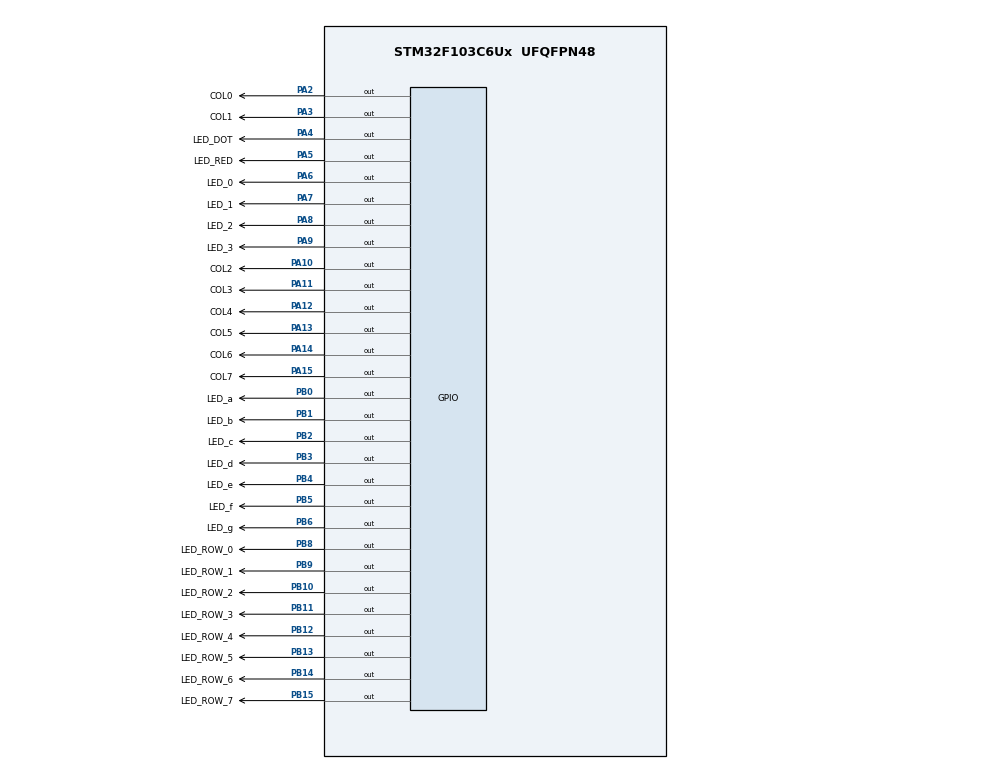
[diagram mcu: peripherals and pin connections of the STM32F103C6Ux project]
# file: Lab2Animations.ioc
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Mcu.Family=STM32F1
Mcu.Name=STM32F103C6Ux
Mcu.Package=UFQFPN48
NVIC.PriorityGroup=NVIC_PRIORITYGROUP_4
NVIC.TIM2_IRQn=true\:0\:0\:false\:false\:true\:true\:true
PA10.GPIO_Label=COL2
PA10.Signal=GPIO_Output
PA11.GPIO_Label=COL3
PA11.Signal=GPIO_Output
PA12.GPIO_Label=COL4
PA12.Signal=GPIO_Output
PA13.GPIO_Label=COL5
PA13.Signal=GPIO_Output
PA14.GPIO_Label=COL6
PA14.Signal=GPIO_Output
PA15.GPIO_Label=COL7
PA15.Signal=GPIO_Output
PA2.GPIO_Label=COL0
PA2.Signal=GPIO_Output
PA3.GPIO_Label=COL1
PA3.Signal=GPIO_Output
PA4.GPIO_Label=LED_DOT
PA4.Signal=GPIO_Output
PA5.GPIO_Label=LED_RED
PA5.Signal=GPIO_Output
PA6.GPIO_Label=LED_0
PA6.Signal=GPIO_Output
PA7.GPIO_Label=LED_1
PA7.Signal=GPIO_Output
PA8.GPIO_Label=LED_2
PA8.Signal=GPIO_Output
PA9.GPIO_Label=LED_3
PA9.Signal=GPIO_Output
PB0.GPIO_Label=LED_a
PB0.Signal=GPIO_Output
PB1.GPIO_Label=LED_b
PB1.Signal=GPIO_Output
PB10.GPIO_Label=LED_ROW_2
PB10.Signal=GPIO_Output
PB11.GPIO_Label=LED_ROW_3
PB11.Signal=GPIO_Output
PB12.GPIO_Label=LED_ROW_4
PB12.Signal=GPIO_Output
PB13.GPIO_Label=LED_ROW_5
PB13.Signal=GPIO_Output
PB14.GPIO_Label=LED_ROW_6
PB14.Signal=GPIO_Output
PB15.GPIO_Label=LED_ROW_7
PB15.Signal=GPIO_Output
PB2.GPIO_Label=LED_c
PB2.Signal=GPIO_Output
PB3.GPIO_Label=LED_d
PB3.Signal=GPIO_Output
PB4.GPIO_Label=LED_e
PB4.Signal=GPIO_Output
PB5.GPIO_Label=LED_f
PB5.Signal=GPIO_Output
PB6.GPIO_Label=LED_g
PB6.Signal=GPIO_Output
PB8.GPIO_Label=LED_ROW_0
PB8.Signal=GPIO_Output
PB9.GPIO_Label=LED_ROW_1
PB9.Signal=GPIO_Output
ProjectManager.HeapSize=0x200
ProjectManager.StackSize=0x400
ProjectManager.TargetToolchain=STM32CubeIDE
RCC.APB1Freq_Value=8000000
RCC.APB2Freq_Value=8000000
TIM2.Period=1
TIM2.Prescaler=7999
VP_SYS_VS_ND.Mode=No_Debug
VP_TIM2_VS_ClockSourceINT.Mode=Internal
board=custom

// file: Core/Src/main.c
/* USER CODE BEGIN Header */
/**
  ******************************************************************************
  * @file           : main.c
  * @brief          : Main program body
  ******************************************************************************
  * @attention
  *
  * <h2><center>&copy; Copyright (c) 2025 STMicroelectronics.
  * All rights reserved.</center></h2>
  *
  * This software component is licensed by ST under BSD 3-Clause license,
  * the "License"; You may not use this file except in compliance with the
  * License. You may obtain a copy of the License at:
  *                        opensource.org/licenses/BSD-3-Clause
  *
  ******************************************************************************
  */
/* USER CODE END Header */
#include "main.h"

/* USER CODE BEGIN Includes */
#include "software_timer.h"

/* USER CODE END Includes */

/* USER CODE BEGIN PD */
#define digitNums 10
#define maxLedCl 4
#define maxLedMatrix 8
/* USER CODE END PD */

TIM_HandleTypeDef htim2;

/* USER CODE BEGIN PV */
//LED CLOCK
const uint8_t ledMaps[digitNums] = {
		0b1000000, // 0
		0b1111001, // 1
		0b0100100, // 2
		0b0110000, // 3
		0b0011001, // 4
		0b0010010, // 5
		0b0000010, // 6
		0b1111000, // 7
		0b0000000, // 8
		0b0010000  // 9
};

const uint16_t ledUsed[7] ={
		LED_a_Pin, LED_b_Pin, LED_c_Pin,
		LED_d_Pin, LED_e_Pin, LED_f_Pin, LED_g_Pin
};

volatile uint8_t ledClockBuffers[maxLedCl] = {0};
volatile int curLed = 0;
volatile int hr = 12, min = 34, sec = 50;

//LED MATRIX
const uint16_t LED_COL_Pins[8] = {
    COL0_Pin, COL1_Pin, COL2_Pin, COL3_Pin,
    COL4_Pin, COL5_Pin, COL6_Pin, COL7_Pin
};

const uint16_t LED_ROW_Pins[8] = {
    LED_ROW_0_Pin, LED_ROW_1_Pin, LED_ROW_2_Pin, LED_ROW_3_Pin,
    LED_ROW_4_Pin, LED_ROW_5_Pin, LED_ROW_6_Pin, LED_ROW_7_Pin
};

volatile uint8_t ledMatrixBuffers[8] = {0};
const uint8_t fontsMatrix[36][8] = {
		{0x18,0x3C,0x66,0xC3,0xFF,0xFF,0xC3,0xC3}, //A
		{0xFC,0xC6,0xC6,0xFC,0xC6,0xC6,0xC6,0xFC}, //B
		{0x3E,0x63,0xC0,0xC0,0xC0,0xC0,0x63,0x3E}, //C
		{0xFC,0xC6,0xC3,0xC3,0xC3,0xC3,0xC6,0xFC}, //D
		{0xFF,0xC0,0xC0,0xFE,0xC0,0xC0,0xC0,0xFF}, //E
		{0xFF,0xC0,0xC0,0xFE,0xC0,0xC0,0xC0,0xC0}, //F
		{0x3E,0x63,0xC0,0xCF,0xC3,0xC3,0x63,0x3F}, //G
		{0xC3,0xC3,0xC3,0xFF,0xC3,0xC3,0xC3,0xC3}, //H
		{0x3C,0x18,0x18,0x18,0x18,0x18,0x18,0x3C}, //I
		{0x1E,0x0C,0x0C,0x0C,0x0C,0xCC,0xCC,0x78}, //J
		{0xC6,0xCC,0xD8,0xF0,0xF0,0xD8,0xCC,0xC6}, //K
		{0xC0,0xC0,0xC0,0xC0,0xC0,0xC0,0xC0,0xFF}, //L
		{0xC3,0xE7,0xFF,0xFF,0xDB,0xC3,0xC3,0xC3}, //M
		{0xC3,0xE3,0xF3,0xDB,0xCF,0xC7,0xC3,0xC3}, //N
		{0x3C,0x66,0xC3,0xC3,0xC3,0xC3,0x66,0x3C}, //O
		{0xFC,0xC6,0xC6,0xFC,0xC0,0xC0,0xC0,0xC0}, //P
		{0x3C,0x66,0xC3,0xC3,0xC3,0xDB,0x66,0x3D}, //Q
		{0xFC,0xC6,0xC6,0xFC,0xF0,0xD8,0xCC,0xC6}, //R
		{0x3C,0x66,0x60,0x3C,0x06,0x06,0x66,0x3C}, //S
		{0xFF,0x18,0x18,0x18,0x18,0x18,0x18,0x18}, //T
		{0xC3,0xC3,0xC3,0xC3,0xC3,0xC3,0x66,0x3C}, //U
		{0xC3,0xC3,0xC3,0xC3,0x66,0x66,0x3C,0x18}, //V
		{0xC3,0xC3,0xDB,0xFF,0xFF,0xE7,0xC3,0xC3}, //W
		{0xC3,0x66,0x3C,0x18,0x18,0x3C,0x66,0xC3}, //X
		{0xC3,0x66,0x3C,0x18,0x18,0x18,0x18,0x18}, //Y
		{0xFF,0x06,0x0C,0x18,0x30,0x60,0xC0,0xFF}, //Z
		// ===== 0–9 =====
		{0x3C,0x66,0xC3,0xC3,0xC3,0xC3,0x66,0x3C}, //0
		{0x18,0x38,0x18,0x18,0x18,0x18,0x18,0x7E}, //1
		{0x3C,0x66,0x06,0x0C,0x18,0x30,0x60,0x7E}, //2
		{0x3C,0x66,0x06,0x1C,0x06,0x06,0x66,0x3C}, //3
		{0x0C,0x1C,0x3C,0x6C,0xCC,0xFE,0x0C,0x0C}, //4
		{0x7E,0x60,0x60,0x7C,0x06,0x06,0x66,0x3C}, //5
		{0x1C,0x30,0x60,0x7C,0x66,0x66,0x66,0x3C}, //6
		{0x7E,0x06,0x0C,0x18,0x30,0x30,0x30,0x30}, //7
		{0x3C,0x66,0x66,0x3C,0x66,0x66,0x66,0x3C}, //8
		{0x3C,0x66,0x66,0x3E,0x06,0x0C,0x18,0x38}, //9
};

const char charArr[] = "ABCDEFGHIJKLMNOPQRSTUVWXYZ0123456789";
volatile int  charIdx= 0;
volatile int curLedMatrix = 0;

/* USER CODE END PV */

void SystemClock_Config(void);
static void MX_TIM2_Init(void);
static void MX_GPIO_Init(void);

/* USER CODE BEGIN 0 */

/* LED CLOCK */
/* API for LED CLOCK */
void display7SEG(uint8_t digit) {
	HAL_GPIO_WritePin(GPIOB, ledUsed[0], (ledMaps[digit] & 0x01) ? GPIO_PIN_SET : GPIO_PIN_RESET);
	HAL_GPIO_WritePin(GPIOB, ledUsed[1], (ledMaps[digit] & 0x02) ? GPIO_PIN_SET : GPIO_PIN_RESET);
	HAL_GPIO_WritePin(GPIOB, ledUsed[2], (ledMaps[digit] & 0x04) ? GPIO_PIN_SET : GPIO_PIN_RESET);
	HAL_GPIO_WritePin(GPIOB, ledUsed[3], (ledMaps[digit] & 0x08) ? GPIO_PIN_SET : GPIO_PIN_RESET);
	HAL_GPIO_WritePin(GPIOB, ledUsed[4], (ledMaps[digit] & 0x10) ? GPIO_PIN_SET : GPIO_PIN_RESET);
	HAL_GPIO_WritePin(GPIOB, ledUsed[5], (ledMaps[digit] & 0x20) ? GPIO_PIN_SET : GPIO_PIN_RESET);
	HAL_GPIO_WritePin(GPIOB, ledUsed[6], (ledMaps[digit] & 0x40) ? GPIO_PIN_SET : GPIO_PIN_RESET);
}

void clearAllDigits(void) {
	HAL_GPIO_WritePin(GPIOA, LED_0_Pin, GPIO_PIN_SET);
	HAL_GPIO_WritePin(GPIOA, LED_1_Pin, GPIO_PIN_SET);
	HAL_GPIO_WritePin(GPIOA, LED_2_Pin, GPIO_PIN_SET);
	HAL_GPIO_WritePin(GPIOA, LED_3_Pin, GPIO_PIN_SET);
}

void update7SEG(int index) {
	clearAllDigits();

	switch(index) {
		case 0:
			display7SEG(ledClockBuffers[0]);
	        HAL_GPIO_WritePin(GPIOA, LED_0_Pin, GPIO_PIN_RESET);
	        break;
		case 1:
			display7SEG(ledClockBuffers[1]);
			HAL_GPIO_WritePin(GPIOA, LED_1_Pin, GPIO_PIN_RESET);
			break;
		case 2:
			display7SEG(ledClockBuffers[2]);
			HAL_GPIO_WritePin(GPIOA, LED_2_Pin, GPIO_PIN_RESET);
			break;
		case 3:
			display7SEG(ledClockBuffers[3]);
			HAL_GPIO_WritePin(GPIOA, LED_3_Pin, GPIO_PIN_RESET);
			break;
		default:
			break;
	}
}

void updateClockBuffer(int hr, int min) {
	ledClockBuffers[0] =hr / 10;
	ledClockBuffers[1] =hr % 10;
	ledClockBuffers[2] =min / 10;
	ledClockBuffers[3] = min % 10;
}

/* LED 88 MATRIX */
/* TEST LED 8x8 MATRIX */
void test(void) {
	for (int row = 0; row < maxLedMatrix; ++row) {
		for (int col = 0; col < maxLedMatrix; ++col) {
			HAL_GPIO_WritePin(GPIOA, LED_COL_Pins[col], GPIO_PIN_RESET);
		}
		HAL_GPIO_WritePin(GPIOB, LED_ROW_Pins[row], GPIO_PIN_RESET);
	}
}

/* API for LED 8x8 MATRIX */

void clearAllLEDsMatrix(void) {
	for (int row = 0; row < maxLedMatrix; row++) {
		HAL_GPIO_WritePin(GPIOB, LED_ROW_Pins[row], GPIO_PIN_SET);
	}
	for (int col = 0; col < maxLedMatrix; col++) {
	    HAL_GPIO_WritePin(GPIOA, LED_COL_Pins[col], GPIO_PIN_SET);
	}
}

void displayLEDRowCol(int row) {
	uint8_t data = ledMatrixBuffers[row];
	for (int col = 0; col < maxLedMatrix; col++) {
		if (data & 0x80) {
			HAL_GPIO_WritePin(GPIOA, LED_COL_Pins[col], GPIO_PIN_RESET);
		}
		else {
			HAL_GPIO_WritePin(GPIOA, LED_COL_Pins[col], GPIO_PIN_SET);
		}
		data <<= 1; //Shift left 1 bits
	}
	HAL_GPIO_WritePin(GPIOB, LED_ROW_Pins[row], GPIO_PIN_RESET);
}

void updateLEDMatrix(int index) {
	clearAllLEDsMatrix();
	displayLEDRowCol(index);
}

void loadCharToBuffer(char c) {
    int idx = -1;
    if (c >= 'A' && c <= 'Z') idx = c - 'A';
    else if (c >= '0' && c <= '9') {
    	idx = 26 + (c - '0');
    }

    if (idx >= 0 && idx < 36) {
        for (int i = 0; i < maxLedMatrix; ++i) {
            ledMatrixBuffers[i] = fontsMatrix[idx][i];
        }
    }
    else {
        for (int i = 0; i < maxLedMatrix; ++i) {
        	ledMatrixBuffers[i] = 0x00;
        }
    }
}

/* USER CODE END 0 */

int main(void)
{

  /* MCU Configuration--------------------------------------------------------*/

  /* Reset of all peripherals, Initializes the Flash interface and the Systick. */
  HAL_Init();

  /* Configure the system clock */
  SystemClock_Config();

  /* Initialize all configured peripherals */
  MX_TIM2_Init();
  MX_GPIO_Init();
  /* USER CODE BEGIN 2 */
  HAL_TIM_Base_Start_IT(&htim2);

  /* USER CODE END 2 */

  /* Infinite loop */
  /* USER CODE BEGIN WHILE */

  setTimer(0, 50);   // LED 7SEG updated
  setTimer(1, 1000); // Clock buffer updated
  setTimer(2, 500);  // LED DOT and RED Toggle and load buffer for LED 8x8 Matrix
  setTimer(3, 2);    // LED 8x8 Matrix scan

  /* First state
   * Clear all LED 7SEG
   * Clear all LED 8x8 Matrix
   * Load buffer for LED 8x8 Matrix
   * */
  clearAllDigits();
  clearAllLEDsMatrix();
  loadCharToBuffer('A');

  while (1)
  {
	  if (isTimerExpired(0)) {
	  		setTimer(0, 50);
	  		update7SEG(curLed);
	  		curLed = (curLed + 1) % maxLedCl;
	  	}

	  	if (isTimerExpired(1)) {
	  		setTimer(1, 1000);

	  		sec++;
	  		if (sec >= 60) {
	  			sec = 0;
	  			min++;
	  		}
	  		if (min >= 60) {
	  			min = 0;
	  			hr++;
	  		}
	  		if (hr >= 24) {
	  			hr = 0;
	  		}
	  		updateClockBuffer(hr, min);
	  	}

	  	if (isTimerExpired(2)) {
	  		setTimer(2, 500);
	  		HAL_GPIO_TogglePin(LED_RED_GPIO_Port, LED_RED_Pin);
	  		HAL_GPIO_TogglePin(LED_DOT_GPIO_Port, LED_DOT_Pin);

	  		loadCharToBuffer(charArr[charIdx]);
	  		charIdx = (charIdx + 1) % (sizeof(charArr) - 1);
	  	}

	  	if (isTimerExpired(3)) {
	  		setTimer(3, 2);
	  		//test();
	  		updateLEDMatrix(curLedMatrix);
	  		curLedMatrix = (curLedMatrix + 1) % maxLedMatrix;
	  	}
    /* USER CODE END WHILE */

  }
}

void SystemClock_Config(void)
{
  RCC_OscInitTypeDef RCC_OscInitStruct = {0};
  RCC_ClkInitTypeDef RCC_ClkInitStruct = {0};

  /** Initializes the RCC Oscillators according to the specified parameters
  * in the RCC_OscInitTypeDef structure.
  */
  RCC_OscInitStruct.OscillatorType = RCC_OSCILLATORTYPE_HSI;
  RCC_OscInitStruct.HSIState = RCC_HSI_ON;
  RCC_OscInitStruct.HSICalibrationValue = RCC_HSICALIBRATION_DEFAULT;
  RCC_OscInitStruct.PLL.PLLState = RCC_PLL_NONE;
  if (HAL_RCC_OscConfig(&RCC_OscInitStruct) != HAL_OK)
  {
    Error_Handler();
  }
  /** Initializes the CPU, AHB and APB buses clocks
  */
  RCC_ClkInitStruct.ClockType = RCC_CLOCKTYPE_HCLK|RCC_CLOCKTYPE_SYSCLK
                              |RCC_CLOCKTYPE_PCLK1|RCC_CLOCKTYPE_PCLK2;
  RCC_ClkInitStruct.SYSCLKSource = RCC_SYSCLKSOURCE_HSI;
  RCC_ClkInitStruct.AHBCLKDivider = RCC_SYSCLK_DIV1;
  RCC_ClkInitStruct.APB1CLKDivider = RCC_HCLK_DIV1;
  RCC_ClkInitStruct.APB2CLKDivider = RCC_HCLK_DIV1;

  if (HAL_RCC_ClockConfig(&RCC_ClkInitStruct, FLASH_LATENCY_0) != HAL_OK)
  {
    Error_Handler();
  }
}

static void MX_TIM2_Init(void)
{

  TIM_ClockConfigTypeDef sClockSourceConfig = {0};
  TIM_MasterConfigTypeDef sMasterConfig = {0};

  htim2.Instance = TIM2;
  htim2.Init.Prescaler = 7999;
  htim2.Init.CounterMode = TIM_COUNTERMODE_UP;
  htim2.Init.Period = 1;
  htim2.Init.ClockDivision = TIM_CLOCKDIVISION_DIV1;
  htim2.Init.AutoReloadPreload = TIM_AUTORELOAD_PRELOAD_DISABLE;
  if (HAL_TIM_Base_Init(&htim2) != HAL_OK)
  {
    Error_Handler();
  }
  sClockSourceConfig.ClockSource = TIM_CLOCKSOURCE_INTERNAL;
  if (HAL_TIM_ConfigClockSource(&htim2, &sClockSourceConfig) != HAL_OK)
  {
    Error_Handler();
  }
  sMasterConfig.MasterOutputTrigger = TIM_TRGO_RESET;
  sMasterConfig.MasterSlaveMode = TIM_MASTERSLAVEMODE_DISABLE;
  if (HAL_TIMEx_MasterConfigSynchronization(&htim2, &sMasterConfig) != HAL_OK)
  {
    Error_Handler();
  }

}

static void MX_GPIO_Init(void)
{
  GPIO_InitTypeDef GPIO_InitStruct = {0};

  /* GPIO Ports Clock Enable */
  __HAL_RCC_GPIOA_CLK_ENABLE();
  __HAL_RCC_GPIOB_CLK_ENABLE();

  /*Configure GPIO pin Output Level */
  HAL_GPIO_WritePin(GPIOA, COL0_Pin|COL1_Pin|LED_DOT_Pin|LED_RED_Pin
                          |LED_0_Pin|LED_1_Pin|LED_2_Pin|LED_3_Pin
                          |COL2_Pin|COL3_Pin|COL4_Pin|COL5_Pin
                          |COL6_Pin|COL7_Pin, GPIO_PIN_RESET);

  /*Configure GPIO pin Output Level */
  HAL_GPIO_WritePin(GPIOB, LED_a_Pin|LED_b_Pin|LED_c_Pin|LED_ROW_2_Pin
                          |LED_ROW_3_Pin|LED_ROW_4_Pin|LED_ROW_5_Pin|LED_ROW_6_Pin
                          |LED_ROW_7_Pin|LED_d_Pin|LED_e_Pin|LED_f_Pin
                          |LED_g_Pin|LED_ROW_0_Pin|LED_ROW_1_Pin, GPIO_PIN_RESET);

  /*Configure GPIO pins : COL0_Pin COL1_Pin LED_DOT_Pin LED_RED_Pin
                           LED_0_Pin LED_1_Pin LED_2_Pin LED_3_Pin
                           COL2_Pin COL3_Pin COL4_Pin COL5_Pin
                           COL6_Pin COL7_Pin */
  GPIO_InitStruct.Pin = COL0_Pin|COL1_Pin|LED_DOT_Pin|LED_RED_Pin
                          |LED_0_Pin|LED_1_Pin|LED_2_Pin|LED_3_Pin
                          |COL2_Pin|COL3_Pin|COL4_Pin|COL5_Pin
                          |COL6_Pin|COL7_Pin;
  GPIO_InitStruct.Mode = GPIO_MODE_OUTPUT_PP;
  GPIO_InitStruct.Pull = GPIO_NOPULL;
  GPIO_InitStruct.Speed = GPIO_SPEED_FREQ_LOW;
  HAL_GPIO_Init(GPIOA, &GPIO_InitStruct);

  /*Configure GPIO pins : LED_a_Pin LED_b_Pin LED_c_Pin LED_ROW_2_Pin
                           LED_ROW_3_Pin LED_ROW_4_Pin LED_ROW_5_Pin LED_ROW_6_Pin
                           LED_ROW_7_Pin LED_d_Pin LED_e_Pin LED_f_Pin
                           LED_g_Pin LED_ROW_0_Pin LED_ROW_1_Pin */
  GPIO_InitStruct.Pin = LED_a_Pin|LED_b_Pin|LED_c_Pin|LED_ROW_2_Pin
                          |LED_ROW_3_Pin|LED_ROW_4_Pin|LED_ROW_5_Pin|LED_ROW_6_Pin
                          |LED_ROW_7_Pin|LED_d_Pin|LED_e_Pin|LED_f_Pin
                          |LED_g_Pin|LED_ROW_0_Pin|LED_ROW_1_Pin;
  GPIO_InitStruct.Mode = GPIO_MODE_OUTPUT_PP;
  GPIO_InitStruct.Pull = GPIO_NOPULL;
  GPIO_InitStruct.Speed = GPIO_SPEED_FREQ_LOW;
  HAL_GPIO_Init(GPIOB, &GPIO_InitStruct);

}

/* USER CODE BEGIN 4 */
void HAL_TIM_PeriodElapsedCallback(TIM_HandleTypeDef *htim) {
	timerRun();

//	 if (isTimerExpired(0)) {
//		  		setTimer(0, 50);
//		  		update7SEG(curLed);
//		  		curLed = (curLed + 1) % 4;
//		  	}
//
//		  	if (isTimerExpired(1)) {
//		  		setTimer(1, 1000);
//
//		  		sec++;
//		  		if (sec >= 60) {
//		  			sec = 0;
//		  			min++;
//		  		}
//		  		if (min >= 60) {
//		  			min = 0;
//		  			hr++;
//		  		}
//		  		if (hr >= 24) {
//		  			hr = 0;
//		  		}
//		  		updateClockBuffer(hr, min);
//		  	}
//
//		  	if (isTimerExpired(2)) {
//		  		setTimer(2, 500);
//		  		HAL_GPIO_TogglePin(LED_RED_GPIO_Port, LED_RED_Pin);
//		  		HAL_GPIO_TogglePin(LED_DOT_GPIO_Port, LED_DOT_Pin);
//		  	}

}

/* USER CODE END 4 */

void Error_Handler(void)
{
  __disable_irq();
  while (1)
  {
  }
}

/************************ (C) COPYRIGHT STMicroelectronics *****END OF FILE****/
